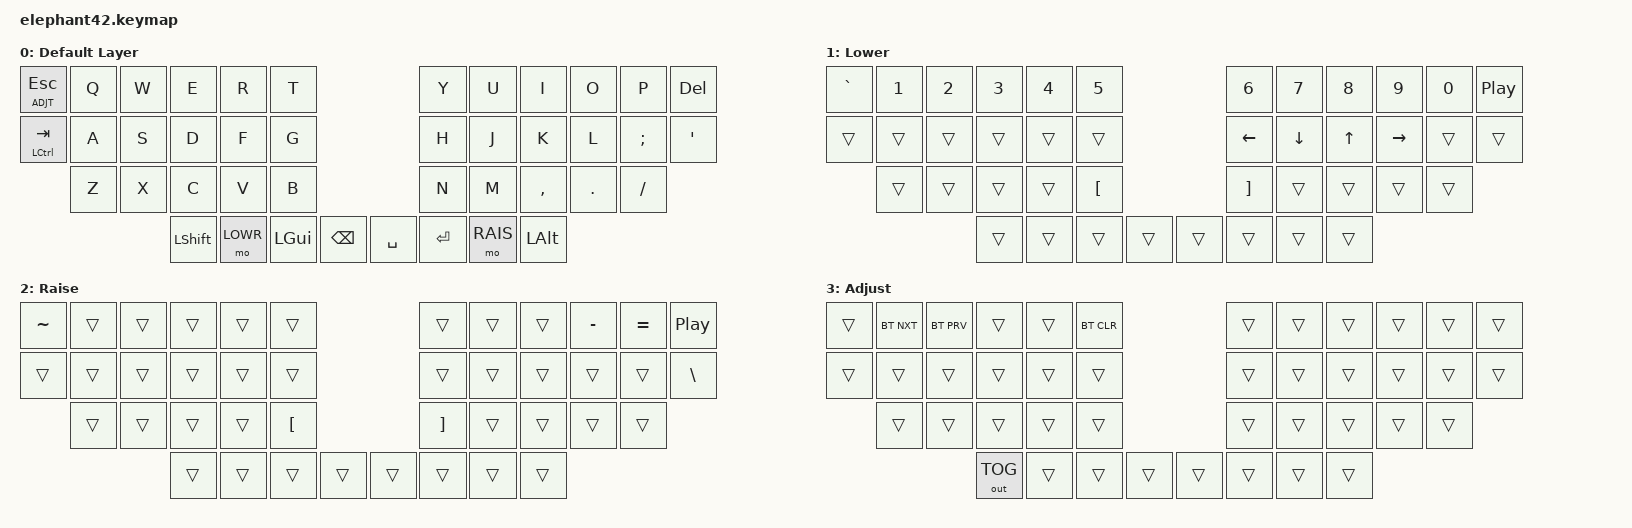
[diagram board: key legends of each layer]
/*
 * Copyright (c) 2021 The ZMK Contributors
 *
 * SPDX-License-Identifier: MIT
 */

#include <behaviors.dtsi>
#include <dt-bindings/zmk/keys.h>
#include <dt-bindings/zmk/bt.h>
#include <dt-bindings/zmk/outputs.h>

#define LOWR 1
#define RAIS 2
#define ADJT 3

/ {
  keymap {
    compatible = "zmk,keymap";

    default_layer {
      display-name = "Default Layer";
      bindings = <
  &lt ADJT ESC  &kp Q &kp W &kp E     &kp R    &kp T                          &kp Y     &kp U    &kp I     &kp O   &kp P    &kp DEL
  &mt LCTRL TAB &kp A &kp S &kp D     &kp F    &kp G                          &kp H     &kp J    &kp K     &kp L   &kp SEMI &kp SQT
                &kp Z &kp X &kp C     &kp V    &kp B                          &kp N     &kp M    &kp COMMA &kp DOT &kp FSLH
                            &kp LSHFT &mo LOWR &kp LGUI &kp BSPC    &kp SPACE &kp ENTER &mo RAIS &kp LALT
      >;
    };

    lower {
      display-name = "Lower";
      bindings = <
  &kp GRAVE &kp N1 &kp N2 &kp N3 &kp N4 &kp N5                         &kp N6   &kp N7   &kp N8 &kp N9    &kp N0 &kp C_PLAY_PAUSE
  &trans    &trans &trans &trans &trans &trans                         &kp LEFT &kp DOWN &kp UP &kp RIGHT &trans &trans
            &trans &trans &trans &trans &kp LBKT                       &kp RBKT &trans   &trans &trans    &trans
                                 &trans &trans &trans &trans    &trans &trans   &trans   &trans
      >;
    };
    raise {
      display-name = "Raise";
      bindings = <
  &kp TILDE &trans &trans &trans &trans &trans                          &trans   &trans &trans &kp MINUS &kp EQUAL &kp C_PLAY_PAUSE
  &trans    &trans &trans &trans &trans &trans                          &trans   &trans &trans &trans    &trans    &kp BSLH
            &trans &trans &trans &trans &kp LBKT                        &kp RBKT &trans &trans &trans    &trans
                                 &trans &trans &trans &trans    &trans  &trans   &trans &trans
      >;
    };

    adjust {
      display-name = "Adjust";
      bindings = <
  &trans &bt BT_NXT &bt BT_PRV &trans       &trans &bt BT_CLR              &trans &trans &trans &trans &trans &trans
  &trans &trans     &trans     &trans       &trans &trans                  &trans &trans &trans &trans &trans &trans
         &trans     &trans     &trans       &trans &trans                  &trans &trans &trans &trans &trans
                               &out OUT_TOG &trans &trans &trans    &trans &trans &trans &trans
      >;
    };
  };
};
